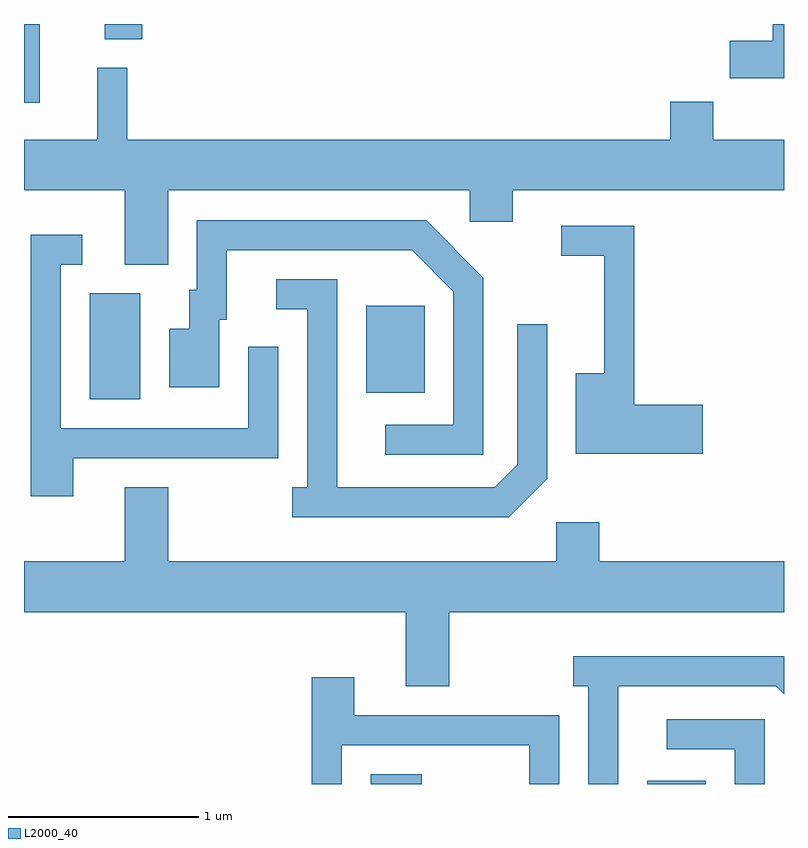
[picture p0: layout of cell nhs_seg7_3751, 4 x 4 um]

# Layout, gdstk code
import gdstk
lib = gdstk.Library(unit=1e-6, precision=1e-09)
def R(c, l, rs):  # rectangles x0, y0, x1, y1
    for r in rs: c.add(gdstk.rectangle(r[:2], r[2:], *l))
def P(c, l, *ps):  # polygons
    for p in ps: c.add(gdstk.Polygon(p, *l))
L2000_40 = (2000, 40)

nhs_seg7_3751 = lib.new_cell('nhs_seg7_3751')
R(nhs_seg7_3751, L2000_40, [(301.436,1762.252,301.704,1762.304), (302.891,1762.252,303.199,1762.269), (299.956,1764.276,300.224,1764.834), (301.411,1764.311,301.719,1764.769), (299.611,1765.838,299.694,1766.252), (300.036,1766.171,300.234,1766.252)])
P(nhs_seg7_3751, L2000_40, [(303.611,1766.252),(303.551,1766.252),(303.551,1766.164),(303.326,1766.164),(303.326,1765.966),(303.611,1765.966)],
  [(300.369,1765.376),(301.956,1765.376),(301.956,1765.211),(302.184,1765.211),(302.184,1765.376),(303.611,1765.376),(303.611,1765.644),(303.239,1765.644),(303.239,1765.844),(303.011,1765.844),(303.011,1765.644),(300.154,1765.644),(300.154,1766.023),(299.996,1766.023),(299.996,1765.644),(299.611,1765.644),(299.611,1765.376),(300.141,1765.376),(300.141,1764.986),(300.369,1764.986)],
  [(302.029,1764.917),(301.727,1765.219),(300.521,1765.219),(300.521,1764.854),(300.481,1764.854),(300.481,1764.649),(300.376,1764.649),(300.376,1764.341),(300.639,1764.341),(300.639,1764.696),(300.679,1764.696),(300.679,1765.061),(301.654,1765.061),(301.871,1764.844),(301.871,1764.144),(301.513,1764.144),(301.513,1763.986),(302.029,1763.986)],
  [(303.184,1764.249),(302.824,1764.249),(302.824,1765.189),(302.438,1765.189),(302.438,1765.031),(302.666,1765.031),(302.666,1764.414),(302.516,1764.414),(302.516,1763.991),(303.184,1763.991)],
  [(299.869,1763.966),(300.949,1763.966),(300.949,1764.553),(300.791,1764.553),(300.791,1764.124),(299.804,1764.124),(299.804,1764.986),(299.918,1764.986),(299.918,1765.144),(299.646,1765.144),(299.646,1763.766),(299.869,1763.766)],
  [(302.364,1763.859),(302.364,1764.673),(302.206,1764.673),(302.206,1763.932),(302.089,1763.814),(301.259,1763.814),(301.259,1764.909),(300.938,1764.909),(300.938,1764.751),(301.101,1764.751),(301.101,1763.814),(301.023,1763.814),(301.023,1763.656),(302.162,1763.656)],
  [(301.849,1763.156),(303.611,1763.156),(303.611,1763.424),(302.639,1763.424),(302.639,1763.629),(302.411,1763.629),(302.411,1763.424),(300.369,1763.424),(300.369,1763.814),(300.141,1763.814),(300.141,1763.424),(299.611,1763.424),(299.611,1763.156),(301.621,1763.156),(301.621,1762.766),(301.849,1762.766)],
  [(302.739,1762.766),(303.569,1762.766),(303.611,1762.724),(303.611,1762.924),(302.503,1762.924),(302.503,1762.766),(302.581,1762.766),(302.581,1762.252),(302.739,1762.252)],
  [(301.284,1762.456),(302.271,1762.456),(302.271,1762.252),(302.429,1762.252),(302.429,1762.614),(301.349,1762.614),(301.349,1762.814),(301.126,1762.814),(301.126,1762.252),(301.284,1762.252)],
  [(303.509,1762.594),(302.993,1762.594),(302.993,1762.436),(303.351,1762.436),(303.351,1762.252),(303.509,1762.252)])

lib.write_gds('nhs_seg7_3751.gds')
